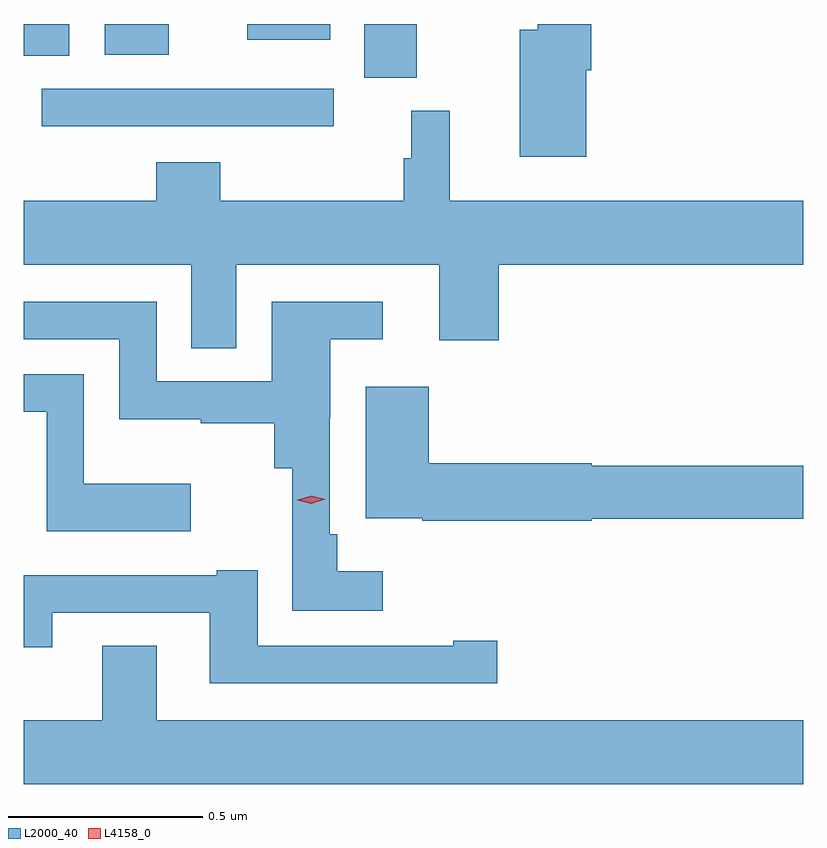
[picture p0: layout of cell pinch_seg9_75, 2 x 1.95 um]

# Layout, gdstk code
import gdstk
lib = gdstk.Library(unit=1e-6, precision=1e-09)
def R(c, l, rs):  # rectangles x0, y0, x1, y1
    for r in rs: c.add(gdstk.rectangle(r[:2], r[2:], *l))
def P(c, l, *ps):  # polygons
    for p in ps: c.add(gdstk.Polygon(p, *l))
L2000_40 = (2000, 40)
L4158_0 = (4158, 0)

pinch_seg9_75 = lib.new_cell('pinch_seg9_75')
R(pinch_seg9_75, L2000_40, [(923.106,1178.127,923.854,1178.223), (923.933,1178.251,924.067,1178.389), (923.059,1178.308,923.176,1178.389), (923.267,1178.31,923.431,1178.389), (923.633,1178.348,923.845,1178.389)])
P(pinch_seg9_75, L2000_40, [(924.502,1178.27),(924.515,1178.27),(924.515,1178.389),(924.377,1178.389),(924.377,1178.374),(924.332,1178.374),(924.332,1178.048),(924.502,1178.048)],
  [(923.605,1177.772),(924.125,1177.772),(924.125,1177.578),(924.278,1177.578),(924.278,1177.772),(925.059,1177.772),(925.059,1177.936),(924.152,1177.936),(924.152,1178.166),(924.053,1178.166),(924.053,1178.045),(924.034,1178.045),(924.034,1177.936),(923.564,1177.936),(923.564,1178.035),(923.399,1178.035),(923.399,1177.936),(923.059,1177.936),(923.059,1177.772),(923.489,1177.772),(923.489,1177.558),(923.605,1177.558)],
  [(923.98,1176.985),(923.864,1176.985),(923.864,1177.081),(923.844,1177.081),(923.844,1177.38),(923.845,1177.38),(923.845,1177.581),(923.98,1177.581),(923.98,1177.677),(923.696,1177.677),(923.696,1177.473),(923.4,1177.473),(923.4,1177.677),(923.059,1177.677),(923.059,1177.581),(923.304,1177.581),(923.304,1177.376),(923.513,1177.376),(923.513,1177.365),(923.702,1177.365),(923.702,1177.25),(923.748,1177.25),(923.748,1176.884),(923.98,1176.884)],
  [(923.488,1177.21),(923.214,1177.21),(923.214,1177.491),(923.059,1177.491),(923.059,1177.395),(923.118,1177.395),(923.118,1177.088),(923.488,1177.088)],
  [(924.516,1177.12),(925.059,1177.12),(925.059,1177.256),(924.516,1177.256),(924.516,1177.262),(924.098,1177.262),(924.098,1177.459),(923.936,1177.459),(923.936,1177.121),(924.081,1177.121),(924.081,1177.115),(924.516,1177.115)],
  [(924.274,1176.808),(924.161,1176.808),(924.161,1176.795),(923.659,1176.795),(923.659,1176.988),(923.555,1176.988),(923.555,1176.975),(923.059,1176.975),(923.059,1176.791),(923.133,1176.791),(923.133,1176.879),(923.537,1176.879),(923.537,1176.699),(924.274,1176.699)],
  [(925.059,1176.604),(923.401,1176.604),(923.401,1176.794),(923.261,1176.794),(923.261,1176.604),(923.059,1176.604),(923.059,1176.44),(925.059,1176.44)])
P(pinch_seg9_75, L4158_0, [(923.797,1177.159),(923.761,1177.168),(923.761,1177.169),(923.761,1177.169),(923.797,1177.179),(923.833,1177.17),(923.833,1177.17),(923.833,1177.17)])

lib.write_gds('pinch_seg9_75.gds')
